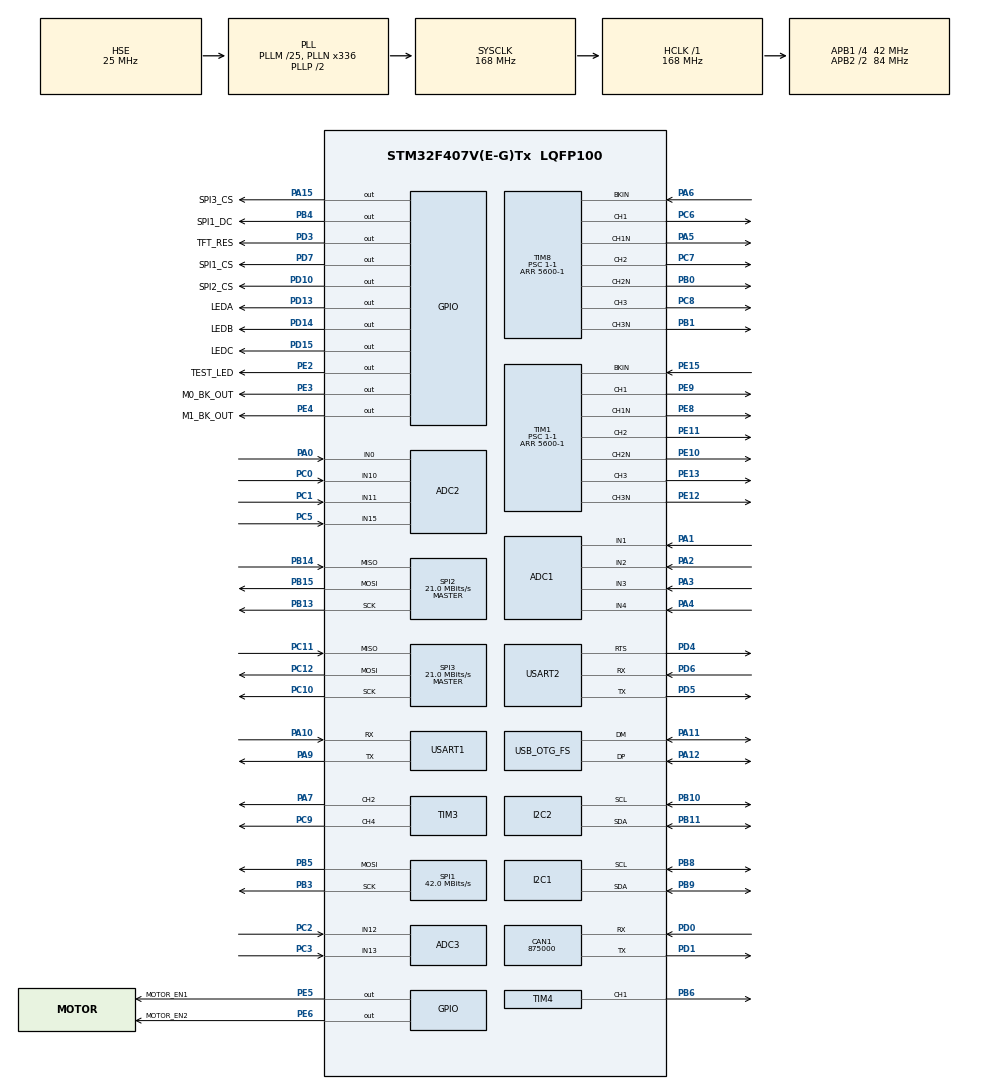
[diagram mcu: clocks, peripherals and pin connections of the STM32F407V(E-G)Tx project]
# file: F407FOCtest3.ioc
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ADC1.Channel-10\#ChannelInjectedConversion=ADC_CHANNEL_2
ADC1.Channel-11\#ChannelInjectedConversion=ADC_CHANNEL_3
ADC1.Channel-13\#ChannelInjectedConversion=ADC_CHANNEL_4
ADC1.Channel-6\#ChannelRegularConversion=ADC_CHANNEL_1
ADC1.ClockPrescaler=ADC_CLOCK_SYNC_PCLK_DIV4
ADC1.ContinuousConvMode=DISABLE
ADC1.DMAContinuousRequests=DISABLE
ADC1.DataAlign=ADC_DATAALIGN_RIGHT
ADC1.DiscontinuousConvMode=DISABLE
ADC1.EOCSelection=ADC_EOC_SINGLE_CONV
ADC1.ExternalTrigConv=ADC_SOFTWARE_START
ADC1.ExternalTrigInjecConv=ADC_EXTERNALTRIGINJECCONV_T1_CC4
ADC1.InjNumberOfConversion=3
ADC1.InjectedOffset-10\#ChannelInjectedConversion=0
ADC1.InjectedOffset-11\#ChannelInjectedConversion=0
ADC1.InjectedOffset-13\#ChannelInjectedConversion=0
ADC1.InjectedRank-10\#ChannelInjectedConversion=1
ADC1.InjectedRank-11\#ChannelInjectedConversion=2
ADC1.InjectedRank-13\#ChannelInjectedConversion=3
ADC1.NbrOfConversion=1
ADC1.NbrOfConversionFlag=1
ADC1.Rank-6\#ChannelRegularConversion=1
ADC1.SamplingTime-10\#ChannelInjectedConversion=ADC_SAMPLETIME_3CYCLES
ADC1.SamplingTime-11\#ChannelInjectedConversion=ADC_SAMPLETIME_3CYCLES
ADC1.SamplingTime-13\#ChannelInjectedConversion=ADC_SAMPLETIME_3CYCLES
ADC1.SamplingTime-6\#ChannelRegularConversion=ADC_SAMPLETIME_3CYCLES
ADC1.ScanConvMode=ENABLE
ADC1.master=1
ADC2.Channel-10\#ChannelRegularConversion=ADC_CHANNEL_0
ADC2.Channel-11\#ChannelInjectedConversion=ADC_CHANNEL_10
ADC2.Channel-12\#ChannelInjectedConversion=ADC_CHANNEL_11
ADC2.Channel-14\#ChannelInjectedConversion=ADC_CHANNEL_15
ADC2.DataAlign=ADC_DATAALIGN_RIGHT
ADC2.ExternalTrigConv=ADC_EXTERNALTRIGCONV_T8_TRGO
ADC2.ExternalTrigInjecConv=ADC_EXTERNALTRIGINJECCONV_T8_CC4
ADC2.InjNumberOfConversion=3
ADC2.InjectedOffset-11\#ChannelInjectedConversion=0
ADC2.InjectedOffset-12\#ChannelInjectedConversion=0
ADC2.InjectedOffset-14\#ChannelInjectedConversion=0
ADC2.InjectedRank-11\#ChannelInjectedConversion=1
ADC2.InjectedRank-12\#ChannelInjectedConversion=2
ADC2.InjectedRank-14\#ChannelInjectedConversion=3
ADC2.NbrOfConversion=1
ADC2.NbrOfConversionFlag=1
ADC2.Rank-10\#ChannelRegularConversion=1
ADC2.SamplingTime-10\#ChannelRegularConversion=ADC_SAMPLETIME_3CYCLES
ADC2.SamplingTime-11\#ChannelInjectedConversion=ADC_SAMPLETIME_3CYCLES
ADC2.SamplingTime-12\#ChannelInjectedConversion=ADC_SAMPLETIME_3CYCLES
ADC2.SamplingTime-14\#ChannelInjectedConversion=ADC_SAMPLETIME_3CYCLES
ADC2.ScanConvMode=ENABLE
ADC3.Channel-0\#ChannelRegularConversion=ADC_CHANNEL_12
ADC3.Channel-1\#ChannelRegularConversion=ADC_CHANNEL_13
ADC3.ContinuousConvMode=ENABLE
ADC3.DMAContinuousRequests=DISABLE
ADC3.DataAlign=ADC_DATAALIGN_RIGHT
ADC3.NbrOfConversion=2
ADC3.NbrOfConversionFlag=1
ADC3.Rank-0\#ChannelRegularConversion=1
ADC3.Rank-1\#ChannelRegularConversion=2
ADC3.SamplingTime-0\#ChannelRegularConversion=ADC_SAMPLETIME_3CYCLES
ADC3.SamplingTime-1\#ChannelRegularConversion=ADC_SAMPLETIME_3CYCLES
ADC3.ScanConvMode=ENABLE
CAN1.BS1=CAN_BS1_1TQ
CAN1.BS2=CAN_BS2_1TQ
CAN1.CalculateBaudRate=875000
CAN1.CalculateTimeBit=1142
CAN1.CalculateTimeQuantum=380.95238095238096
Dma.ADC3.2.Direction=DMA_PERIPH_TO_MEMORY
Dma.ADC3.2.FIFOMode=DMA_FIFOMODE_DISABLE
Dma.ADC3.2.Instance=DMA2_Stream0
Dma.ADC3.2.MemDataAlignment=DMA_MDATAALIGN_HALFWORD
Dma.ADC3.2.MemInc=DMA_MINC_ENABLE
Dma.ADC3.2.Mode=DMA_NORMAL
Dma.ADC3.2.PeriphDataAlignment=DMA_PDATAALIGN_HALFWORD
Dma.ADC3.2.PeriphInc=DMA_PINC_DISABLE
Dma.ADC3.2.Priority=DMA_PRIORITY_LOW
Dma.Request0=SPI2_TX
Dma.Request1=TIM4_CH1
Dma.Request2=ADC3
Dma.Request3=USART1_RX
Dma.Request4=USART1_TX
Dma.SPI2_TX.0.Direction=DMA_MEMORY_TO_PERIPH
Dma.SPI2_TX.0.FIFOMode=DMA_FIFOMODE_DISABLE
Dma.SPI2_TX.0.Instance=DMA1_Stream4
Dma.SPI2_TX.0.MemDataAlignment=DMA_MDATAALIGN_BYTE
Dma.SPI2_TX.0.MemInc=DMA_MINC_ENABLE
Dma.SPI2_TX.0.Mode=DMA_CIRCULAR
Dma.SPI2_TX.0.PeriphDataAlignment=DMA_PDATAALIGN_BYTE
Dma.SPI2_TX.0.PeriphInc=DMA_PINC_DISABLE
Dma.SPI2_TX.0.Priority=DMA_PRIORITY_LOW
Dma.TIM4_CH1.1.Direction=DMA_PERIPH_TO_MEMORY
Dma.TIM4_CH1.1.FIFOMode=DMA_FIFOMODE_DISABLE
Dma.TIM4_CH1.1.Instance=DMA1_Stream0
Dma.TIM4_CH1.1.MemDataAlignment=DMA_MDATAALIGN_HALFWORD
Dma.TIM4_CH1.1.MemInc=DMA_MINC_ENABLE
Dma.TIM4_CH1.1.Mode=DMA_CIRCULAR
Dma.TIM4_CH1.1.PeriphDataAlignment=DMA_PDATAALIGN_HALFWORD
Dma.TIM4_CH1.1.PeriphInc=DMA_PINC_DISABLE
Dma.TIM4_CH1.1.Priority=DMA_PRIORITY_LOW
Dma.USART1_RX.3.Direction=DMA_PERIPH_TO_MEMORY
Dma.USART1_RX.3.FIFOMode=DMA_FIFOMODE_DISABLE
Dma.USART1_RX.3.Instance=DMA2_Stream2
Dma.USART1_RX.3.MemDataAlignment=DMA_MDATAALIGN_BYTE
Dma.USART1_RX.3.MemInc=DMA_MINC_ENABLE
Dma.USART1_RX.3.Mode=DMA_NORMAL
Dma.USART1_RX.3.PeriphDataAlignment=DMA_PDATAALIGN_BYTE
Dma.USART1_RX.3.PeriphInc=DMA_PINC_DISABLE
Dma.USART1_RX.3.Priority=DMA_PRIORITY_LOW
Dma.USART1_TX.4.Direction=DMA_MEMORY_TO_PERIPH
Dma.USART1_TX.4.FIFOMode=DMA_FIFOMODE_DISABLE
Dma.USART1_TX.4.Instance=DMA2_Stream7
Dma.USART1_TX.4.MemDataAlignment=DMA_MDATAALIGN_BYTE
Dma.USART1_TX.4.MemInc=DMA_MINC_ENABLE
Dma.USART1_TX.4.Mode=DMA_NORMAL
Dma.USART1_TX.4.PeriphDataAlignment=DMA_PDATAALIGN_BYTE
Dma.USART1_TX.4.PeriphInc=DMA_PINC_DISABLE
Dma.USART1_TX.4.Priority=DMA_PRIORITY_LOW
Mcu.Family=STM32F4
Mcu.Name=STM32F407V(E-G)Tx
Mcu.Package=LQFP100
NVIC.ADC_IRQn=true\:1\:0\:true\:false\:true\:true\:true\:true
NVIC.DMA1_Stream0_IRQn=true\:0\:0\:false\:false\:true\:false\:true\:true
NVIC.DMA1_Stream4_IRQn=true\:2\:0\:true\:false\:true\:false\:true\:true
NVIC.DMA2_Stream0_IRQn=true\:1\:0\:true\:false\:true\:false\:true\:true
NVIC.DMA2_Stream2_IRQn=true\:0\:0\:false\:false\:true\:false\:true\:true
NVIC.DMA2_Stream7_IRQn=true\:0\:0\:false\:false\:true\:false\:true\:true
NVIC.PriorityGroup=NVIC_PRIORITYGROUP_4
NVIC.TIM1_BRK_TIM9_IRQn=true\:1\:0\:true\:false\:true\:true\:true\:true
NVIC.TIM4_IRQn=true\:1\:0\:true\:false\:true\:true\:true\:true
NVIC.TIM6_DAC_IRQn=true\:0\:0\:true\:false\:true\:true\:true\:true
NVIC.TIM8_BRK_TIM12_IRQn=true\:1\:0\:true\:false\:true\:true\:true\:true
NVIC.USART1_IRQn=true\:0\:0\:true\:false\:true\:true\:true\:true
PA0-WKUP.Signal=ADCx_IN0
PA1.Signal=ADCx_IN1
PA10.Mode=Asynchronous
PA10.Signal=USART1_RX
PA11.Mode=Device_Only
PA11.Signal=USB_OTG_FS_DM
PA12.Mode=Device_Only
PA12.Signal=USB_OTG_FS_DP
PA13.Mode=Serial_Wire
PA13.Signal=SYS_JTMS-SWDIO
PA14.Mode=Serial_Wire
PA14.Signal=SYS_JTCK-SWCLK
PA15.GPIO_Label=SPI3_CS
PA15.Signal=GPIO_Output
PA2.Signal=ADCx_IN2
PA3.Signal=ADCx_IN3
PA4.Signal=ADCx_IN4
PA5.Mode=PWM Generation1 CH1 CH1N
PA5.Signal=TIM8_CH1N
PA6.Mode=Activate-Break-Input
PA6.Signal=TIM8_BKIN
PA7.Signal=S_TIM3_CH2
PA9.Mode=Asynchronous
PA9.Signal=USART1_TX
PB0.Mode=PWM Generation2 CH2 CH2N
PB0.Signal=TIM8_CH2N
PB1.Mode=PWM Generation3 CH3 CH3N
PB1.Signal=TIM8_CH3N
PB10.Mode=I2C
PB10.Signal=I2C2_SCL
PB11.Mode=I2C
PB11.Signal=I2C2_SDA
PB13.Mode=Full_Duplex_Master
PB13.Signal=SPI2_SCK
PB14.Mode=Full_Duplex_Master
PB14.Signal=SPI2_MISO
PB15.Mode=Full_Duplex_Master
PB15.Signal=SPI2_MOSI
PB3.Mode=TX_Only_Simplex_Unidirect_Master
PB3.Signal=SPI1_SCK
PB4.GPIO_Label=SPI1_DC
PB4.Signal=GPIO_Output
PB5.Mode=TX_Only_Simplex_Unidirect_Master
PB5.Signal=SPI1_MOSI
PB6.Signal=S_TIM4_CH1
PB8.Mode=I2C
PB8.Signal=I2C1_SCL
PB9.Mode=I2C
PB9.Signal=I2C1_SDA
PC0.Signal=ADCx_IN10
PC1.Signal=ADCx_IN11
PC10.Mode=Full_Duplex_Master
PC10.Signal=SPI3_SCK
PC11.Mode=Full_Duplex_Master
PC11.Signal=SPI3_MISO
PC12.Mode=Full_Duplex_Master
PC12.Signal=SPI3_MOSI
PC14-OSC32_IN.Signal=RCC_OSC32_IN
PC15-OSC32_OUT.Signal=RCC_OSC32_OUT
PC2.Signal=ADCx_IN12
PC3.Signal=ADCx_IN13
PC5.Signal=ADCx_IN15
PC6.Signal=S_TIM8_CH1
PC7.Signal=S_TIM8_CH2
PC8.Signal=S_TIM8_CH3
PC9.Signal=S_TIM3_CH4
PD0.Mode=CAN_Activate
PD0.Signal=CAN1_RX
PD1.Mode=CAN_Activate
PD1.Signal=CAN1_TX
PD10.GPIO_Label=SPI2_CS
PD10.Signal=GPIO_Output
PD13.GPIO_Label=LEDA
PD13.Signal=GPIO_Output
PD14.GPIO_Label=LEDB
PD14.Signal=GPIO_Output
PD15.GPIO_Label=LEDC
PD15.Signal=GPIO_Output
PD3.GPIO_Label=TFT_RES
PD3.Signal=GPIO_Output
PD4.Mode=RTS_Only
PD4.Signal=USART2_RTS
PD5.Mode=Asynchronous
PD5.Signal=USART2_TX
PD6.Mode=Asynchronous
PD6.Signal=USART2_RX
PD7.GPIO_Label=SPI1_CS
PD7.Signal=GPIO_Output
PE10.Mode=PWM Generation2 CH2 CH2N
PE10.Signal=TIM1_CH2N
PE11.Signal=S_TIM1_CH2
PE12.Mode=PWM Generation3 CH3 CH3N
PE12.Signal=TIM1_CH3N
PE13.Signal=S_TIM1_CH3
PE15.Mode=Activate-Break-Input
PE15.Signal=TIM1_BKIN
PE2.GPIO_Label=TEST_LED
PE2.PinState=GPIO_PIN_RESET
PE2.Signal=GPIO_Output
PE3.GPIO_Label=M0_BK_OUT
PE3.Signal=GPIO_Output
PE4.GPIO_Label=M1_BK_OUT
PE4.Signal=GPIO_Output
PE5.GPIO_Label=MOTOR_EN1
PE5.Signal=GPIO_Output
PE6.GPIO_Label=MOTOR_EN2
PE6.Signal=GPIO_Output
PE8.Mode=PWM Generation1 CH1 CH1N
PE8.Signal=TIM1_CH1N
PE9.Signal=S_TIM1_CH1
PH0-OSC_IN.Mode=HSE-External-Oscillator
PH0-OSC_IN.Signal=RCC_OSC_IN
PH1-OSC_OUT.Mode=HSE-External-Oscillator
PH1-OSC_OUT.Signal=RCC_OSC_OUT
ProjectManager.HeapSize=0x200
ProjectManager.StackSize=0x400
ProjectManager.TargetToolchain=MDK-ARM V5.32
RCC.48MHZClocksFreq_Value=48000000
RCC.AHBFreq_Value=168000000
RCC.APB1CLKDivider=RCC_HCLK_DIV4
RCC.APB1Freq_Value=42000000
RCC.APB1TimFreq_Value=84000000
RCC.APB2CLKDivider=RCC_HCLK_DIV2
RCC.APB2Freq_Value=84000000
RCC.APB2TimFreq_Value=168000000
RCC.CortexFreq_Value=168000000
RCC.HCLKFreq_Value=168000000
RCC.HSE_VALUE=25000000
RCC.HSI_VALUE=16000000
RCC.LSE_VALUE=32768
RCC.PLLM=25
RCC.PLLN=336
RCC.PLLQ=7
RCC.SYSCLKFreq_VALUE=168000000
RCC.SYSCLKSource=RCC_SYSCLKSOURCE_PLLCLK
RCC.VCOOutputFreq_Value=336000000
SH.ADCx_IN0.0=ADC2_IN0,IN0
SH.ADCx_IN1.0=ADC1_IN1,IN1
SH.ADCx_IN10.0=ADC2_IN10,IN10
SH.ADCx_IN11.0=ADC2_IN11,IN11
SH.ADCx_IN12.0=ADC3_IN12,IN12
SH.ADCx_IN13.0=ADC3_IN13,IN13
SH.ADCx_IN15.0=ADC2_IN15,IN15
SH.ADCx_IN2.0=ADC1_IN2,IN2
SH.ADCx_IN3.0=ADC1_IN3,IN3
SH.ADCx_IN4.0=ADC1_IN4,IN4
SH.S_TIM1_CH1.0=TIM1_CH1,PWM Generation1 CH1 CH1N
SH.S_TIM1_CH2.0=TIM1_CH2,PWM Generation2 CH2 CH2N
SH.S_TIM1_CH3.0=TIM1_CH3,PWM Generation3 CH3 CH3N
SH.S_TIM3_CH2.0=TIM3_CH2,PWM Generation2 CH2
SH.S_TIM3_CH4.0=TIM3_CH4,PWM Generation4 CH4
SH.S_TIM4_CH1.0=TIM4_CH1,PWM Generation1 CH1
SH.S_TIM8_CH1.0=TIM8_CH1,PWM Generation1 CH1 CH1N
SH.S_TIM8_CH2.0=TIM8_CH2,PWM Generation2 CH2 CH2N
SH.S_TIM8_CH3.0=TIM8_CH3,PWM Generation3 CH3 CH3N
SPI1.CLKPhase=SPI_PHASE_2EDGE
SPI1.CLKPolarity=SPI_POLARITY_HIGH
SPI1.CalculateBaudRate=42.0 MBits/s
SPI1.Direction=SPI_DIRECTION_2LINES
SPI1.Mode=SPI_MODE_MASTER
SPI1.VirtualType=VM_MASTER
SPI2.BaudRatePrescaler=SPI_BAUDRATEPRESCALER_2
SPI2.CLKPhase=SPI_PHASE_2EDGE
SPI2.CLKPolarity=SPI_POLARITY_HIGH
SPI2.CalculateBaudRate=21.0 MBits/s
SPI2.Direction=SPI_DIRECTION_2LINES
SPI2.Mode=SPI_MODE_MASTER
SPI2.VirtualType=VM_MASTER
SPI3.BaudRatePrescaler=SPI_BAUDRATEPRESCALER_2
SPI3.CalculateBaudRate=21.0 MBits/s
SPI3.Direction=SPI_DIRECTION_2LINES
SPI3.Mode=SPI_MODE_MASTER
SPI3.VirtualType=VM_MASTER
STMicroelectronics.X-CUBE-ALGOBUILD.1.4.0.LibraryCcDSPOoLibraryJjDSPOoLibrary=true
TIM1.AutoReloadPreload=TIM_AUTORELOAD_PRELOAD_ENABLE
TIM1.AutomaticOutput=TIM_AUTOMATICOUTPUT_DISABLE
TIM1.BreakPolarity=TIM_BREAKPOLARITY_LOW
TIM1.Channel-PWM\ Generation1\ CH1\ CH1N=TIM_CHANNEL_1
TIM1.Channel-PWM\ Generation2\ CH2\ CH2N=TIM_CHANNEL_2
TIM1.Channel-PWM\ Generation3\ CH3\ CH3N=TIM_CHANNEL_3
TIM1.Channel-PWM\ Generation4\ No\ Output=TIM_CHANNEL_4
TIM1.CounterMode=TIM_COUNTERMODE_CENTERALIGNED1
TIM1.DeadTime=168
TIM1.OCFastMode_PWM-PWM\ Generation4\ No\ Output=TIM_OCFAST_DISABLE
TIM1.OCIdleState_1=TIM_OCIDLESTATE_SET
TIM1.OCIdleState_2=TIM_OCIDLESTATE_SET
TIM1.OCIdleState_3=TIM_OCIDLESTATE_SET
TIM1.OCMode_PWM-PWM\ Generation1\ CH1\ CH1N=TIM_OCMODE_PWM1
TIM1.OCMode_PWM-PWM\ Generation2\ CH2\ CH2N=TIM_OCMODE_PWM1
TIM1.OCMode_PWM-PWM\ Generation3\ CH3\ CH3N=TIM_OCMODE_PWM1
TIM1.OCMode_PWM-PWM\ Generation4\ No\ Output=TIM_OCMODE_PWM1
TIM1.OCNIdleState_1=TIM_OCNIDLESTATE_RESET
TIM1.OCNIdleState_2=TIM_OCNIDLESTATE_RESET
TIM1.OCNIdleState_3=TIM_OCNIDLESTATE_RESET
TIM1.OCNPolarity_1=TIM_OCNPOLARITY_HIGH
TIM1.OCNPolarity_2=TIM_OCNPOLARITY_HIGH
TIM1.OCNPolarity_3=TIM_OCNPOLARITY_HIGH
TIM1.OCPolarity_1=TIM_OCPOLARITY_HIGH
TIM1.OCPolarity_2=TIM_OCPOLARITY_HIGH
TIM1.OCPolarity_3=TIM_OCPOLARITY_HIGH
TIM1.OCPolarity_4=TIM_OCPOLARITY_HIGH
TIM1.OffStateIDLEMode=TIM_OSSI_ENABLE
TIM1.OffStateRunMode=TIM_OSSR_ENABLE
TIM1.Period=5600-1
TIM1.Prescaler=1-1
TIM1.Pulse-PWM\ Generation1\ CH1\ CH1N=0
TIM1.Pulse-PWM\ Generation2\ CH2\ CH2N=0
TIM1.Pulse-PWM\ Generation3\ CH3\ CH3N=0
TIM1.Pulse-PWM\ Generation4\ No\ Output=4800-100
TIM1.RepetitionCounter=0
TIM1.TIM_MasterOutputTrigger=TIM_TRGO_OC4REF
TIM2.AutoReloadPreload=TIM_AUTORELOAD_PRELOAD_ENABLE
TIM2.Period=4294967295
TIM2.Prescaler=73-1
TIM3.Channel-PWM\ Generation2\ CH2=TIM_CHANNEL_2
TIM3.Channel-PWM\ Generation4\ CH4=TIM_CHANNEL_4
TIM4.AutoReloadPreload=TIM_AUTORELOAD_PRELOAD_ENABLE
TIM4.Channel-PWM\ Generation1\ CH1=TIM_CHANNEL_1
TIM4.OCFastMode_PWM-PWM\ Generation1\ CH1=TIM_OCFAST_DISABLE
TIM4.Period=5000-1
TIM4.Prescaler=168-1
TIM6.Period=2500-1
TIM6.Prescaler=8400-1
TIM8.AutoReloadPreload=TIM_AUTORELOAD_PRELOAD_ENABLE
TIM8.AutomaticOutput=TIM_AUTOMATICOUTPUT_DISABLE
TIM8.BreakPolarity=TIM_BREAKPOLARITY_LOW
TIM8.Channel-PWM\ Generation1\ CH1\ CH1N=TIM_CHANNEL_1
TIM8.Channel-PWM\ Generation2\ CH2\ CH2N=TIM_CHANNEL_2
TIM8.Channel-PWM\ Generation3\ CH3\ CH3N=TIM_CHANNEL_3
TIM8.Channel-PWM\ Generation4\ No\ Output=TIM_CHANNEL_4
TIM8.CounterMode=TIM_COUNTERMODE_CENTERALIGNED1
TIM8.DeadTime=168
TIM8.OCIdleState_1=TIM_OCIDLESTATE_SET
TIM8.OCIdleState_2=TIM_OCIDLESTATE_SET
TIM8.OCIdleState_3=TIM_OCIDLESTATE_SET
TIM8.OCNIdleState_1=TIM_OCNIDLESTATE_RESET
TIM8.OCNIdleState_2=TIM_OCNIDLESTATE_RESET
TIM8.OCNIdleState_3=TIM_OCNIDLESTATE_RESET
TIM8.OCNPolarity_1=TIM_OCNPOLARITY_HIGH
TIM8.OCNPolarity_2=TIM_OCNPOLARITY_HIGH
TIM8.OCNPolarity_3=TIM_OCNPOLARITY_HIGH
TIM8.OffStateIDLEMode=TIM_OSSI_ENABLE
TIM8.OffStateRunMode=TIM_OSSR_ENABLE
TIM8.Period=5600-1
TIM8.Prescaler=1-1
TIM8.Pulse-PWM\ Generation4\ No\ Output=4800-100
TIM8.TIM_MasterOutputTrigger=TIM_TRGO_OC4REF
USART1.VirtualMode=VM_ASYNC
USART2.VirtualMode=VM_ASYNC
USB_OTG_FS.VirtualMode=Device_Only
VP_STMicroelectronics.X-CUBE-ALGOBUILD_VS_DSPOoLibraryJjLibrary_1.4.0_1.4.0.Mode=DSPOoLibraryJjLibrary
VP_TIM1_VS_ClockSourceINT.Mode=Internal
VP_TIM1_VS_no_output4.Mode=PWM Generation4 No Output
VP_TIM2_VS_ClockSourceINT.Mode=Internal
VP_TIM3_VS_ClockSourceINT.Mode=Internal
VP_TIM4_VS_ClockSourceINT.Mode=Internal
VP_TIM6_VS_ClockSourceINT.Mode=Enable_Timer
VP_TIM8_VS_ClockSourceINT.Mode=Internal
VP_TIM8_VS_no_output4.Mode=PWM Generation4 No Output
board=custom

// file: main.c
/* USER CODE BEGIN Header */
/**
  ******************************************************************************
  * @file           : main.c
  * @brief          : Main program body
  ******************************************************************************
  * @attention
  *
  * Copyright (c) 2024 STMicroelectronics.
  * All rights reserved.
  *
  * This software is licensed under terms that can be found in the LICENSE file
  * in the root directory of this software component.
  * If no LICENSE file comes with this software, it is provided AS-IS.
  *
  ******************************************************************************
  */
/* USER CODE END Header */
#include "main.h"
#include "adc.h"
#include "can.h"
#include "dma.h"
#include "i2c.h"
#include "spi.h"
#include "tim.h"
#include "usart.h"
#include "usb_otg.h"
#include "gpio.h"

/* USER CODE BEGIN Includes */
#include "stm32f4xx_hal.h"
#include "stdio.h"
#include "stdbool.h"
#include "arm_math.h"
#include "arm_const_structs.h"
#include "lcd.h"
#include "FOC.h"
#include "AS5600.h"
#include "Filter.h"

/* USER CODE END Includes */

/* USER CODE BEGIN PM */
struct MovingAverageFilter vol_avg_filter;
struct MovingAverageFilter temp1_avg_filter;
struct MovingAverageFilter temp2_avg_filter;

/* USER CODE END PM */

/* USER CODE BEGIN PV */
uint16_t Pre_d, Comp_d, Duty;
uint16_t TFT_ADC_value; 			// TFT屏幕的ADC转换值
float32_t TFT_Real_value; 			// TFT滑动变阻器实际电压值

uint16_t Voltage_ADC_value;			// 电源的ADC转换值
float32_t Voltage_Real_value; 		// 电源的实际电压值

uint16_t Temp1_ADC_value;			// 温度的ADC转换值
uint16_t Temp2_ADC_value;
float32_t Temp1_Vol_value;			// 温度的实际电压值
float32_t Temp2_Vol_value;
float32_t R1_ntc;					// NTC值
float32_t R2_ntc;
float32_t temperature1;				// 温度的实际值
float32_t temperature2;

uint8_t powerMode = 1;				// 电源供电模式
uint8_t S0_Angle = 0;				// 舵机角度
uint8_t S1_Angle = 0;

uint8_t rx_buffer[50];				// 串口缓存
uint8_t rx_len;						// 串口数据长度
/* USER CODE END PV */

void SystemClock_Config(void);

int main(void)
{

  /* MCU Configuration--------------------------------------------------------*/

  /* Reset of all peripherals, Initializes the Flash interface and the Systick. */
  HAL_Init();

  /* Configure the system clock */
  SystemClock_Config();

  /* Initialize all configured peripherals */
  MX_GPIO_Init();
  MX_DMA_Init();
  MX_I2C1_Init();
  MX_I2C2_Init();
  MX_TIM1_Init();
  MX_TIM8_Init();
  MX_ADC1_Init();
  MX_ADC2_Init();
  MX_ADC3_Init();
  MX_CAN1_Init();
  MX_USART1_UART_Init();
  MX_SPI2_Init();
  MX_USART2_UART_Init();
  MX_USB_OTG_FS_PCD_Init();
  MX_SPI1_Init();
  MX_SPI3_Init();
  MX_TIM4_Init();
  MX_TIM3_Init();
  MX_TIM2_Init();
  MX_TIM6_Init();
  /* USER CODE BEGIN 2 */
  Start();
  /* USER CODE END 2 */

  /* Infinite loop */
  while (1)
  {

  }
}

void SystemClock_Config(void)
{
  RCC_OscInitTypeDef RCC_OscInitStruct = {0};
  RCC_ClkInitTypeDef RCC_ClkInitStruct = {0};

  /** Configure the main internal regulator output voltage
  */
  __HAL_RCC_PWR_CLK_ENABLE();
  __HAL_PWR_VOLTAGESCALING_CONFIG(PWR_REGULATOR_VOLTAGE_SCALE1);

  /** Initializes the RCC Oscillators according to the specified parameters
  * in the RCC_OscInitTypeDef structure.
  */
  RCC_OscInitStruct.OscillatorType = RCC_OSCILLATORTYPE_HSE;
  RCC_OscInitStruct.HSEState = RCC_HSE_ON;
  RCC_OscInitStruct.PLL.PLLState = RCC_PLL_ON;
  RCC_OscInitStruct.PLL.PLLSource = RCC_PLLSOURCE_HSE;
  RCC_OscInitStruct.PLL.PLLM = 25;
  RCC_OscInitStruct.PLL.PLLN = 336;
  RCC_OscInitStruct.PLL.PLLP = RCC_PLLP_DIV2;
  RCC_OscInitStruct.PLL.PLLQ = 7;
  if (HAL_RCC_OscConfig(&RCC_OscInitStruct) != HAL_OK)
  {
    Error_Handler();
  }

  /** Initializes the CPU, AHB and APB buses clocks
  */
  RCC_ClkInitStruct.ClockType = RCC_CLOCKTYPE_HCLK|RCC_CLOCKTYPE_SYSCLK
                              |RCC_CLOCKTYPE_PCLK1|RCC_CLOCKTYPE_PCLK2;
  RCC_ClkInitStruct.SYSCLKSource = RCC_SYSCLKSOURCE_PLLCLK;
  RCC_ClkInitStruct.AHBCLKDivider = RCC_SYSCLK_DIV1;
  RCC_ClkInitStruct.APB1CLKDivider = RCC_HCLK_DIV4;
  RCC_ClkInitStruct.APB2CLKDivider = RCC_HCLK_DIV2;

  if (HAL_RCC_ClockConfig(&RCC_ClkInitStruct, FLASH_LATENCY_5) != HAL_OK)
  {
    Error_Handler();
  }
}

/* USER CODE BEGIN 4 */
uint8_t	SPI1_WriteByte(uint8_t* data, uint16_t size)
{
//	return HAL_SPI_Transmit(&hspi1, data, size, 0xff);
	return HAL_SPI_Transmit(&hspi1, data, size, 0xff);
}

uint8_t count1 = 0;
uint8_t count2 = 1;
void HAL_TIM_PeriodElapsedCallback(TIM_HandleTypeDef *htim)
{
	if (htim->Instance == TIM4)
	{
		/* 计算TFT分压电阻电压值 */
		TFT_ADC_value = Read_ADC_Value(&hadc2, ADC_CHANNEL_0);  				// 调用函数触发ADC
		TFT_Real_value = TFT_ADC_value * (3.3f / 4096);  						// 计算实际电压
		Duty = TFT_Real_value * (100 / 3.3f);									// 计算占空比
		Comp_d = Pre_d * Duty / 100;

		/* 设置比较值 */
		if (__HAL_TIM_GET_COMPARE(&htim4, TIM_CHANNEL_1) != Comp_d)
		{
			__HAL_TIM_SET_COMPARE(&htim4, TIM_CHANNEL_1, Comp_d);
		}

		ADC_dispose();
		static uint8_t i = 0;
		if (i == 9)
		{
			i = 0;
			/* 计算电源电压值 */
			Voltage_ADC_value = Read_ADC_Value(&hadc1, ADC_CHANNEL_1);			// 调用函数触发ADC
			Voltage_Real_value = Voltage_ADC_value  * (3.3f / 4096) * 11.0f;	// 计算实际电压
//	 		Voltage_Real_value = MovingAvg_Update(&vol_avg_filter, Voltage_Real_value);

			/* 计算热敏电阻值 */
			Temp1_ADC_value = adcValue.value1;
			Temp2_ADC_value = adcValue.value2;
			Temp1_Vol_value = Temp1_ADC_value  * (3.3f / 4096);
			Temp2_Vol_value = Temp2_ADC_value  * (3.3f / 4096);
			R1_ntc = (3.3f * 3.0f / Temp1_Vol_value) - 1;
			R2_ntc = (3.3f * 3.0f / Temp2_Vol_value) - 1;
			temperature1 = R_ntc_to_temperature(R1_ntc, 0.0f, 60.0f, 1.0f);
			temperature2 = R_ntc_to_temperature(R2_ntc, 0.0f, 60.0f, 1.0f);
			temperature1 = MovingAvg_Update(&temp1_avg_filter, temperature1);
			temperature2 = MovingAvg_Update(&temp2_avg_filter, temperature2);
		}
		i++;
//		printf("%.3f, %.3f, %.3f, %.3f\n", TFT_Real_value, Voltage_Real_value, temperature1, temperature2);
	}
	if (htim->Instance == TIM6)
	{
		count1++;
		if (count1 == 6)
		{
			count1 = 0;
			LCD_Show_Vol_Num(Voltage_Real_value);
			LCD_Show_Servo_Angle(S0_Angle, S1_Angle);
			LCD_Show_Poewr_Num(Voltage_Real_value);
			LCD_Show_Temperature_Num(temperature1, temperature2);
		}

		LCD_Show_Motor_Mode(M0.mode, M1.mode);
		LCD_Show_Motor_Vel(Sensor0.velocity * 11.1f, Sensor1.velocity * 11.1f); // 11.1 = 0.185 * 60

		if (count1 == 4)
		{
			switch (count2)
			{
				case 1:
				HAL_GPIO_WritePin(GPIOD, LEDA_Pin, GPIO_PIN_RESET);
				HAL_GPIO_WritePin(GPIOD, LEDB_Pin, GPIO_PIN_RESET);
				HAL_GPIO_WritePin(GPIOD, LEDC_Pin, GPIO_PIN_RESET);
				count2 = 2;
				break;
				case 2:
				HAL_GPIO_WritePin(GPIOD, LEDA_Pin, GPIO_PIN_SET);
				HAL_GPIO_WritePin(GPIOD, LEDB_Pin, GPIO_PIN_RESET);
				HAL_GPIO_WritePin(GPIOD, LEDC_Pin, GPIO_PIN_RESET);
				count2 = 3;
				break;
				case 3:
				HAL_GPIO_WritePin(GPIOD, LEDA_Pin, GPIO_PIN_RESET);
				HAL_GPIO_WritePin(GPIOD, LEDB_Pin, GPIO_PIN_SET);
				HAL_GPIO_WritePin(GPIOD, LEDC_Pin, GPIO_PIN_RESET);
				count2 = 4;
				break;
				case 4:
				HAL_GPIO_WritePin(GPIOD, LEDA_Pin, GPIO_PIN_SET);
				HAL_GPIO_WritePin(GPIOD, LEDB_Pin, GPIO_PIN_SET);
				HAL_GPIO_WritePin(GPIOD, LEDC_Pin, GPIO_PIN_RESET);
				count2 = 5;
				break;
				case 5:
				HAL_GPIO_WritePin(GPIOD, LEDA_Pin, GPIO_PIN_RESET);
				HAL_GPIO_WritePin(GPIOD, LEDB_Pin, GPIO_PIN_RESET);
				HAL_GPIO_WritePin(GPIOD, LEDC_Pin, GPIO_PIN_SET);
				count2 = 6;
				break;
				case 6:
				HAL_GPIO_WritePin(GPIOD, LEDA_Pin, GPIO_PIN_RESET);
				HAL_GPIO_WritePin(GPIOD, LEDB_Pin, GPIO_PIN_SET);
				HAL_GPIO_WritePin(GPIOD, LEDC_Pin, GPIO_PIN_SET);
				count2 = 7;
				break;
				case 7:
				HAL_GPIO_WritePin(GPIOD, LEDA_Pin, GPIO_PIN_SET);
				HAL_GPIO_WritePin(GPIOD, LEDB_Pin, GPIO_PIN_RESET);
				HAL_GPIO_WritePin(GPIOD, LEDC_Pin, GPIO_PIN_SET);

				count2 = 8;
				break;
				case 8:
				HAL_GPIO_WritePin(GPIOD, LEDA_Pin, GPIO_PIN_SET);
				HAL_GPIO_WritePin(GPIOD, LEDB_Pin, GPIO_PIN_SET);
				HAL_GPIO_WritePin(GPIOD, LEDC_Pin, GPIO_PIN_SET);
				count2 = 1;
				break;
			}
		}
	}
}

void Start(void)
{
	Motor_TIM18_Init();
	LCD_TIM4_Init();
	LCD_Init();
	Pre_d = __HAL_TIM_GET_AUTORELOAD(&htim4);
	LCD_Clear(BLACK);
	HAL_Delay(100);
	LCD_Show_O1();
	HAL_Delay(100);

	AS5600_Init();
	LCD_Show_O2();
	HAL_Delay(100);
	MovingAvg_Init(&vol_avg_filter, 5);
	MovingAvg_Init(&temp1_avg_filter, 15);
	MovingAvg_Init(&temp2_avg_filter, 15);
	LCD_Show_O3();
	HAL_Delay(100);
	HAL_ADC_Start_IT(&hadc1);
	LCD_Show_O4();
	HAL_Delay(100);

	HAL_ADC_Start_IT(&hadc2);
	LCD_Show_O5();
	HAL_Delay(100);
	FOC_Init();
	LCD_Show_O6();
	LCD_Show_O7();
	HAL_Delay(800);
	LCD_Show_BG();

	Other_TIM26_Init();
	LCD_Show_Poewr_Num(Voltage_Real_value);
	LCD_Show_Temperature_Num(temperature1, temperature2);
	LCD_Show_Vol_Num(Voltage_Real_value);
	LCD_Show_Motor_Mode(M0.mode, M1.mode);
	LCD_Show_Motor_Vel(Sensor0.velocity, Sensor1.velocity);
	LCD_Show_Servo_Angle(S0_Angle, S1_Angle);

	HAL_ADCEx_InjectedStart(&hadc1);
	HAL_ADC_Start_IT(&hadc1);
	HAL_ADCEx_InjectedStart(&hadc2);
	HAL_ADC_Start_IT(&hadc2);
	HAL_ADC_Start_DMA(&hadc3, (uint32_t *)adcData, 2);

	__HAL_ADC_ENABLE_IT(&hadc1, ADC_IT_JEOC);
	__HAL_TIM_ENABLE_IT(&htim1, TIM_IT_BREAK);
	__HAL_ADC_ENABLE_IT(&hadc2, ADC_IT_JEOC);
	__HAL_TIM_ENABLE_IT(&htim8, TIM_IT_BREAK);
}
/* USER CODE END 4 */

void Error_Handler(void)
{
  __disable_irq();
  while (1)
  {
  }
}
